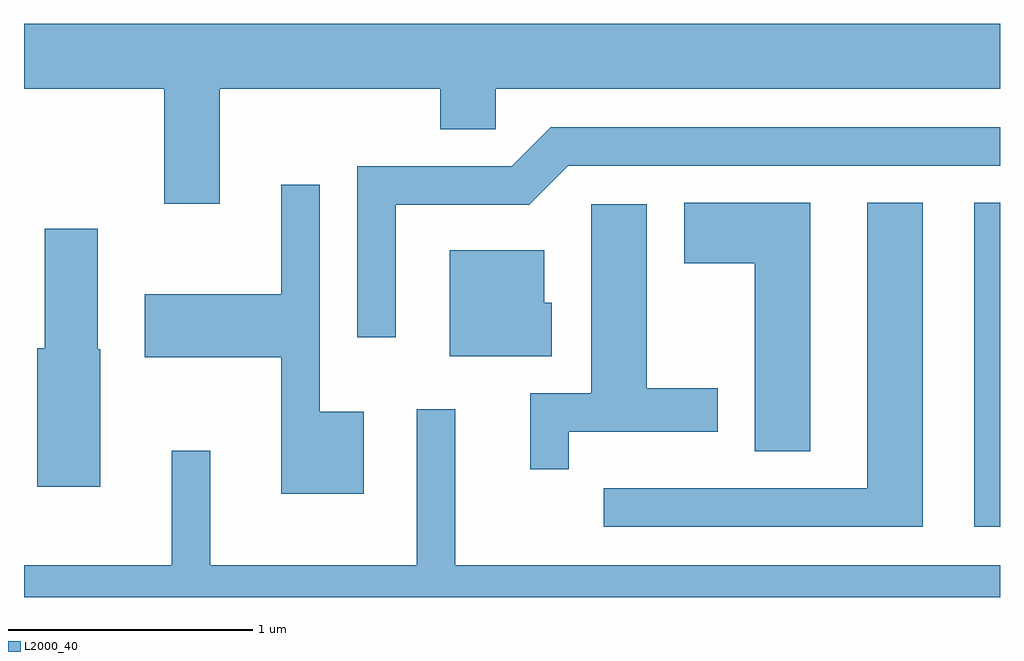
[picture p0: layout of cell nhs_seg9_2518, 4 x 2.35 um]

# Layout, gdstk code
import gdstk
lib = gdstk.Library(unit=1e-6, precision=1e-09)
def R(c, l, rs):  # rectangles x0, y0, x1, y1
    for r in rs: c.add(gdstk.rectangle(r[:2], r[2:], *l))
def P(c, l, *ps):  # polygons
    for p in ps: c.add(gdstk.Polygon(p, *l))
L2000_40 = (2000, 40)

nhs_seg9_2518 = lib.new_cell('nhs_seg9_2518')
R(nhs_seg9_2518, L2000_40, [(263.506,1956.721,263.611,1958.049)])
P(nhs_seg9_2518, L2000_40, [(260.414,1958.516),(261.316,1958.516),(261.316,1958.351),(261.544,1958.351),(261.544,1958.516),(263.611,1958.516),(263.611,1958.784),(259.611,1958.784),(259.611,1958.516),(260.186,1958.516),(260.186,1958.046),(260.414,1958.046)],
  [(261.134,1958.041),(261.682,1958.041),(261.842,1958.201),(263.611,1958.201),(263.611,1958.359),(261.769,1958.359),(261.609,1958.199),(260.976,1958.199),(260.976,1957.498),(261.134,1957.498)],
  [(261.004,1957.194),(260.824,1957.194),(260.824,1958.123),(260.666,1958.123),(260.666,1957.674),(260.106,1957.674),(260.106,1957.416),(260.666,1957.416),(260.666,1956.856),(261.004,1956.856)],
  [(263.294,1958.049),(263.066,1958.049),(263.066,1956.879),(261.988,1956.879),(261.988,1956.721),(263.294,1956.721)],
  [(262.834,1958.049),(262.316,1958.049),(262.316,1957.801),(262.606,1957.801),(262.606,1957.031),(262.834,1957.031)],
  [(261.844,1957.111),(262.454,1957.111),(262.454,1957.289),(262.164,1957.289),(262.164,1958.044),(261.936,1958.044),(261.936,1957.269),(261.686,1957.269),(261.686,1956.958),(261.844,1956.958)],
  [(259.924,1957.45),(259.914,1957.45),(259.914,1957.944),(259.696,1957.944),(259.696,1957.454),(259.666,1957.454),(259.666,1956.886),(259.924,1956.886)],
  [(261.774,1957.639),(261.744,1957.639),(261.744,1957.854),(261.356,1957.854),(261.356,1957.421),(261.774,1957.421)],
  [(263.611,1956.564),(261.379,1956.564),(261.379,1957.203),(261.221,1957.203),(261.221,1956.564),(260.374,1956.564),(260.374,1957.033),(260.216,1957.033),(260.216,1956.564),(259.611,1956.564),(259.611,1956.432),(263.611,1956.432)])

lib.write_gds('nhs_seg9_2518.gds')
